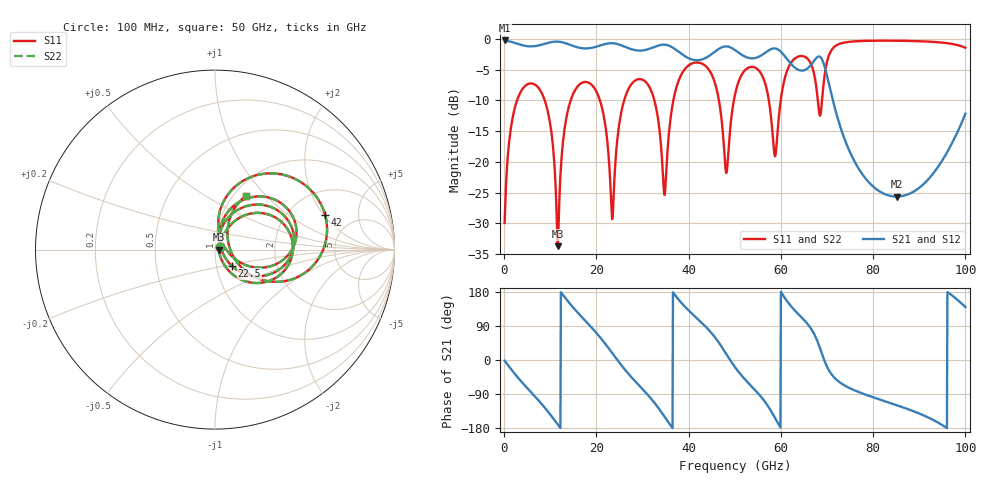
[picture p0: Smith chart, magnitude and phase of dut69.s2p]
! Touchstone file exported from HFSS 2026.1.0
!  File:  C:/ffzhzh/LocalFiles/Ansys_Project_Files/temp_train_TSV_RDL_69_1783626513_26216.aedt
!  Generated:  04:13:38 AM Jul 10, 2026
!  Design:  TSV_RDL
!  Project:  temp_train_TSV_RDL_69_1783626513_26216
! Variables:
!  h_bsmrdl = 3.03um
!  h_ox = 20um
!  h_rdl = 5um
!  h_sub = 98.6um
!  h_tmrdl = 2.53um
!  h_tsv = 98.6um
!  h_via = 3um
!  l_bsmrdl = 564.67um
!  l_sub = 4508.66um
!  l_tmrdl = 575.23um
!  m_sub = 200um
!  pitch = 41.03um
!  r_tsv = 12.11um
!  s_tmrdl = 10um
!  w_bsmrdl = 19.7um
!  w_sub = 500um
!  w_tmrdl = 18.21um
!  x_tsv_center1 = 584.335um
!  x_tsv_center2 = 1168.705um
!  x_tsv_center3 = 1762.145um
!  x_tsv_center4 = 2346.515um
!  x_tsv_center5 = 2939.955um
!  x_tsv_center6 = 3524.325um
# GHz S MA R 50.000000
! Terminal data exported
! Port[1] = TM_RDL1_1_T1
! Port[2] = TM_RDL5_1_T1
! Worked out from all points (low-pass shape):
!   1000 points, 100 MHz to 100 GHz, reference 50 ohm
!   highest |S21| = -0.25 dB at 100 MHz (marker M1); lowest = -25.6 dB at 85.1 GHz (marker M2)
!   |S21| within 3 dB of the highest: start of sweep to 40.32 GHz; 43.22 GHz to 61.3 GHz (18.08 GHz wide, 34.6 % of centre) (the widest 2 of 3)
!   lowest |S11| = -33.7 dB at 11.6 GHz (marker M3), VSWR 1.04, Z = 52.1 - j0.0121 ohm
!   |S11| at or under -10 dB: 8.804 GHz to 14.42 GHz (5.616 GHz wide, 48.4 % of centre); 20.77 GHz to 26.01 GHz (5.243 GHz wide, 22.4 % of centre); 32.57 GHz to 36.68 GHz (4.108 GHz wide, 11.9 % of centre) (the widest 3 of 7)
!   |S22| runs from -33.8 to -0.3 dB; largest |S21 - S12| = 1.4e-11
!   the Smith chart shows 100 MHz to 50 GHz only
!   S11 on the Smith chart (normalised r, x): 100 MHz: 1.06, +0.03; 22.5 GHz: 1.18, -0.22; 42 GHz: 3.16, +2.06; 50 GHz: 1.14, +0.77
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0.1  0.03184 25.8  0.9716 -1.7  0.9716 -1.7  0.03184 25.8
! Gamma 0 0 0 0
! Port Impedance 50 0 50 0
2.1  0.2548 48.9  0.9328 -33.4  0.9328 -33.4  0.2548 48.9
5.9  0.4346 1.4  0.8697 -85.9  0.8697 -85.9  0.4346 1.4
9.6  0.2437 -46.3  0.9302 -137.7  0.9302 -137.7  0.2437 -46.4
11.6  0.02064 -0.3  0.9506 -169.7  0.9506 -169.7  0.02035 -0.5
16.8  0.4385 21.5  0.841 113.8  0.841 113.8  0.4385 21.6
22.5  0.1302 -44.0  0.9188 33.4  0.9188 33.4  0.1305 -43.5
23.5  0.03497 29.4  0.9227 17.0  0.9227 17.0  0.03606 29.0
27.9  0.4421 37.7  0.8184 -49.4  0.8184 -49.4  0.4421 37.6
33.4  0.2192 -25.5  0.883 -126.0  0.883 -126.0  0.2191 -25.6
34.8  0.05389 32.6  0.8979 -150.1  0.8979 -150.1  0.05375 32.5
42  0.6431 17.3  0.6713 107.7  0.6713 107.7  0.6431 17.2
48.1  0.08219 6.4  0.8697 17.0  0.8697 17.0  0.08248 6.4
50  0.3458 60.1  0.8143 -18.0  0.8143 -18.0  0.346 60.0
50.1  0.3599 59.1  0.8094 -19.7  0.8094 -19.7  0.3601 59.0
56.1  0.4883 -7.1  0.7487 -103.0  0.7487 -103.0  0.4883 -7.4
59.3  0.1797 65.0  0.8239 -165.2  0.8239 -165.2  0.1778 65.6
66.7  0.6031 -0.9  0.6261 79.6  0.6261 79.6  0.6028 -0.9
70.7  0.7786 41.3  0.3875 -32.8  0.3875 -32.8  0.7784 41.4
83.4  0.9674 -23.2  0.05331 -112.2  0.05331 -112.2  0.9673 -23.1
85.1  0.9664 -29.4  0.05225 -119.2  0.05225 -119.2  0.9663 -29.3
100  0.8475 -121.2  0.2471 140.0  0.2471 140.0  0.8471 -121.2
